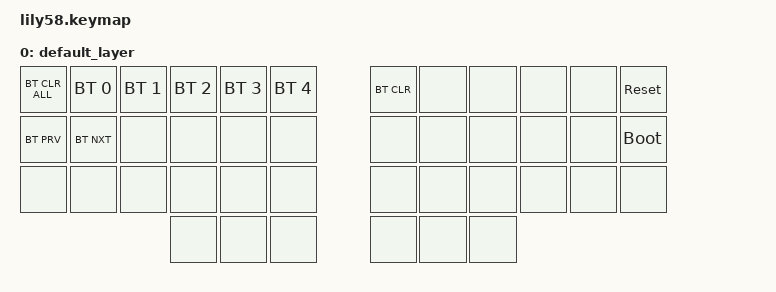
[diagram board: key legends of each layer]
/*
 * Reset Settings Keymap for Lily58
 * Dedicated firmware for resetting keyboard settings
 */

#include <behaviors.dtsi>
#include <dt-bindings/zmk/keys.h>
#include <dt-bindings/zmk/bt.h>

/ {
    keymap {
        compatible = "zmk,keymap";

        default_layer {
            bindings = <
&bt BT_CLR_ALL &bt BT_SEL 0  &bt BT_SEL 1  &bt BT_SEL 2  &bt BT_SEL 3  &bt BT_SEL 4      &bt BT_CLR     &none         &none         &none         &none         &sys_reset
&bt BT_PRV     &bt BT_NXT    &none         &none         &none         &none             &none          &none         &none         &none         &none         &bootloader
&none          &none         &none         &none         &none         &none             &none          &none         &none         &none         &none         &none
                                           &none         &none         &none             &none          &none         &none
            >;
        };
    };
};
